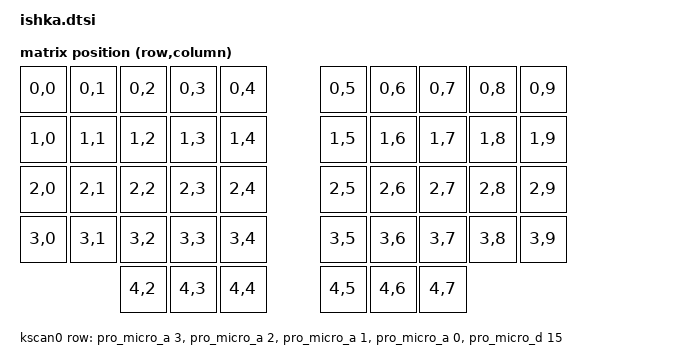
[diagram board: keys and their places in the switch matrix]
#include <dt-bindings/zmk/matrix_transform.h>

/ {
	chosen {
		zmk,kscan = &kscan0;
		zmk,matrix_transform = &default_transform;
	};

	default_transform: keymap_transform_0 {
        compatible = "zmk,matrix-transform";
        columns = <10>;
        rows = <5>;
// | MX5  | MX4  | MX3  | MX2  | MX1  || MX1  | MX2  | MX3  | MX4  | MX5  |
// | MX10 | MX9  | MX8  | MX7  | MX6  || MX6  | MX7  | MX8  | MX9  | MX10 |
// | MX15 | MX14 | MX13 | MX12 | MX11 || MX11 | MX12 | MX13 | MX14 | MX15 |
// | MX20 | MX19 | MX18 | MX17 | MX16 || MX16 | MX17 | MX18 | MX19 | MX20 |
// 				 | MX23 | MX22 | MX21 || MX21 | MX22 | MX23 |
        map = <
RC(0,0) RC(0,1) RC(0,2) RC(0,3) RC(0,4)    RC(0,5) RC(0,6) RC(0,7) RC(0,8) RC(0,9)
RC(1,0) RC(1,1) RC(1,2) RC(1,3) RC(1,4)    RC(1,5) RC(1,6) RC(1,7) RC(1,8) RC(1,9)
RC(2,0) RC(2,1) RC(2,2) RC(2,3) RC(2,4)    RC(2,5) RC(2,6) RC(2,7) RC(2,8) RC(2,9)
RC(3,0) RC(3,1) RC(3,2) RC(3,3) RC(3,4)    RC(3,5) RC(3,6) RC(3,7) RC(3,8) RC(3,9)
                RC(4,2) RC(4,3) RC(4,4)    RC(4,5) RC(4,6) RC(4,7)
        >;
    };

	kscan0: kscan {
		compatible = "zmk,kscan-gpio-matrix";
		label ="KSCAN";
		diode-direction = "col2row";

		row-gpios
			= <&pro_micro_a 3  (GPIO_ACTIVE_HIGH | GPIO_PULL_DOWN)>
			, <&pro_micro_a 2  (GPIO_ACTIVE_HIGH | GPIO_PULL_DOWN)>
			, <&pro_micro_a 1  (GPIO_ACTIVE_HIGH | GPIO_PULL_DOWN)>
			, <&pro_micro_a 0  (GPIO_ACTIVE_HIGH | GPIO_PULL_DOWN)>
			, <&pro_micro_d 15 (GPIO_ACTIVE_HIGH | GPIO_PULL_DOWN)>
			;
	};
};

